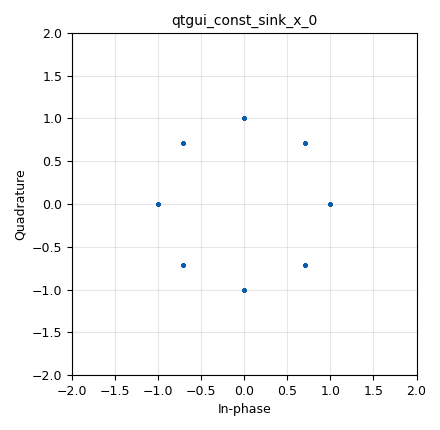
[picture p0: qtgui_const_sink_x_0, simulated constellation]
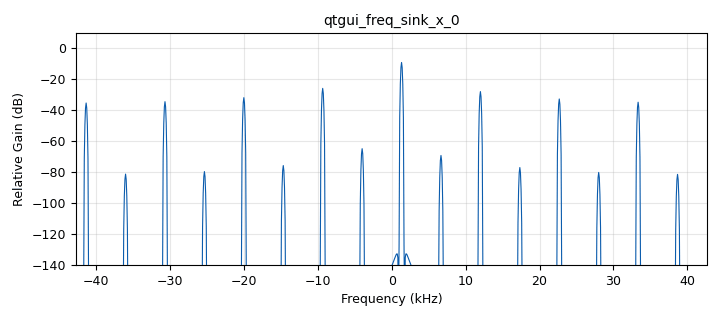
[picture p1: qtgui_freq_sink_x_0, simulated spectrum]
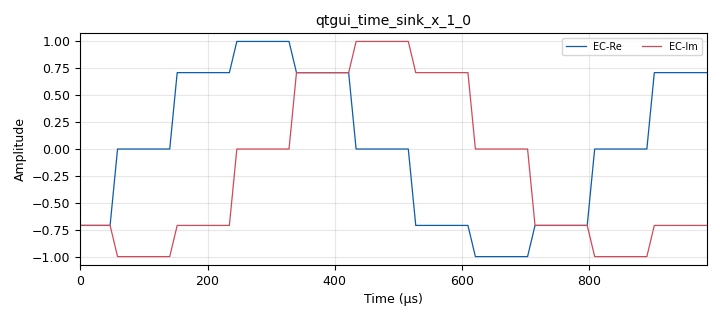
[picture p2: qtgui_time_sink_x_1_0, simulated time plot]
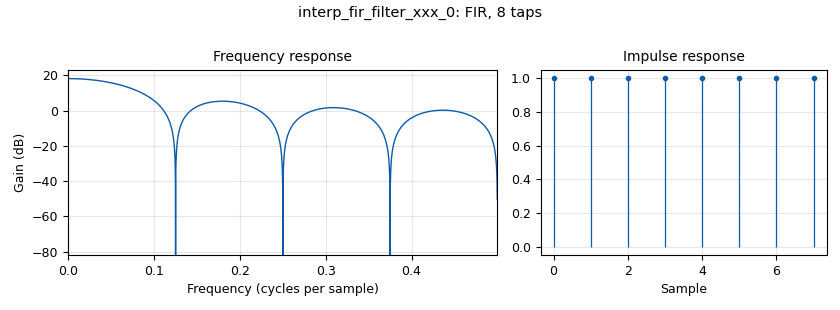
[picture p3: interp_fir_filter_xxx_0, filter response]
options:
  parameters:
    author: com2_B1_G8
    generate_options: qt_gui
    id: MPSKcontabla
    output_language: python
    title: Not titled yet
  states: {}

blocks:
- name: Constelación
  id: variable
  parameters:
    value: (1,0.71+0.71j,1j,-0.71+0.71j,-1,-0.71-0.71j,-1j,0.71-0.71j)
  states: {}
- name: M
  id: variable
  parameters:
    value: '8'
  states: {}
- name: Nbps
  id: variable
  parameters:
    value: int(math.log(M,2))
  states: {}
- name: Rb
  id: variable
  parameters:
    value: '32000'
  states: {}
- name: Rs
  id: variable
  parameters:
    value: Rb/Nbps
  states: {}
- name: Sps
  id: variable
  parameters:
    value: len(h)
  states: {}
- name: h
  id: variable
  parameters:
    value: (1.,1.,1.,1.,1.,1.,1.,1.)
  states: {}
- name: samp_rate
  id: variable
  parameters:
    value: Rs*Sps
  states: {}
- name: analog_noise_source_x_0
  id: analog_noise_source_x
  parameters:
    amp: '0'
    noise_type: analog.GR_GAUSSIAN
    seed: '0'
    type: complex
  states: {}
- name: analog_random_source_x_0
  id: analog_random_source_x
  parameters:
    max: '2'
    min: '0'
    num_samps: '1000'
    repeat: 'True'
    type: byte
  states: {state: disabled}
- name: blocks_add_xx_0
  id: blocks_add_xx
  parameters:
    type: complex
  states: {}
- name: blocks_repack_bits_bb_0
  id: blocks_repack_bits_bb
  parameters:
    endianness: gr.GR_LSB_FIRST
    k: '1'
    l: Nbps
  states: {state: disabled}
- name: blocks_vector_source_x_0
  id: blocks_vector_source_x
  parameters:
    repeat: 'True'
    type: byte
    vector: (0, 1, 2,3,4,5,6,7)
  states: {}
- name: digital_chunks_to_symbols_xx_0
  id: digital_chunks_to_symbols_xx
  parameters:
    dimension: '1'
    in_type: byte
    out_type: complex
    symbol_table: Constelación
  states: {}
- name: import_0
  id: import
  parameters:
    imports: import math
  states: {}
- name: interp_fir_filter_xxx_0
  id: interp_fir_filter_xxx
  parameters:
    interp: Sps
    taps: h
    type: ccc
  states: {}
- name: qtgui_const_sink_x_0
  id: qtgui_const_sink_x
  parameters:
    size: '1024'
    type: complex
  states: {}
- name: qtgui_freq_sink_x_0
  id: qtgui_freq_sink_x
  parameters:
    average: '0.05'
    bw: samp_rate
    fc: '0'
    fftsize: '1024'
    type: complex
  states: {}
- name: qtgui_time_sink_x_1_0
  id: qtgui_time_sink_x
  parameters:
    label1: EC-Re
    label2: EC-Im
    size: int(32*Sps/Nbps)
    srate: samp_rate
    type: complex
    width1: '3'
    width2: '3'
  states: {}

connections:
- [analog_noise_source_x_0, '0', blocks_add_xx_0, '1']
- [analog_random_source_x_0, '0', blocks_repack_bits_bb_0, '0']
- [blocks_add_xx_0, '0', qtgui_const_sink_x_0, '0']
- [blocks_add_xx_0, '0', qtgui_freq_sink_x_0, '0']
- [blocks_add_xx_0, '0', qtgui_time_sink_x_1_0, '0']
- [blocks_repack_bits_bb_0, '0', digital_chunks_to_symbols_xx_0, '0']
- [blocks_vector_source_x_0, '0', digital_chunks_to_symbols_xx_0, '0']
- [digital_chunks_to_symbols_xx_0, '0', interp_fir_filter_xxx_0, '0']
- [interp_fir_filter_xxx_0, '0', blocks_add_xx_0, '0']

metadata:
  file_format: 1
  grc_version: v3.10.11.0-89-ga17f69e7
